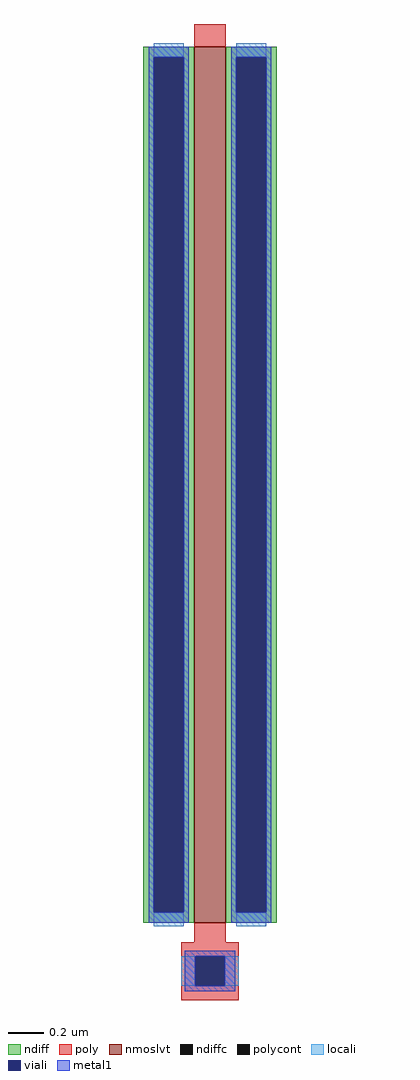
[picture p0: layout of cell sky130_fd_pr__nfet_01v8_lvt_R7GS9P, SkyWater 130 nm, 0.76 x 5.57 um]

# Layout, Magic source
magic
tech sky130A
magscale 1 2
<< nmoslvt >>
rect -18 -469 18 531
<< ndiff >>
rect -76 519 -18 531
rect -76 -457 -64 519
rect -30 -457 -18 519
rect -76 -469 -18 -457
rect 18 519 76 531
rect 18 -457 30 519
rect 64 -457 76 519
rect 18 -469 76 -457
<< ndiffc >>
rect -64 -457 -30 519
rect 30 -457 64 519
<< poly >>
rect -18 531 18 557
rect -18 -491 18 -469
rect -33 -507 33 -491
rect -33 -541 -17 -507
rect 17 -541 33 -507
rect -33 -557 33 -541
<< polycont >>
rect -17 -541 17 -507
<< locali >>
rect -64 519 -30 535
rect -64 -473 -30 -457
rect 30 519 64 535
rect 30 -473 64 -457
rect -33 -541 -17 -507
rect 17 -541 33 -507
<< viali >>
rect -64 -457 -30 519
rect 30 -457 64 519
rect -17 -541 17 -507
<< metal1 >>
rect -70 519 -24 531
rect -70 -457 -64 519
rect -30 -457 -24 519
rect -70 -469 -24 -457
rect 24 519 70 531
rect 24 -457 30 519
rect 64 -457 70 519
rect 24 -469 70 -457
rect -29 -507 29 -501
rect -29 -541 -17 -507
rect 17 -541 29 -507
rect -29 -547 29 -541
<< properties >>
string gencell sky130_fd_pr__nfet_01v8_lvt
string library sky130
string parameters w 5.0 l 0.18 m 1 nf 1 diffcov 100 polycov 100 guard 0 glc 1 grc 1 gtc 1 gbc 1 tbcov 100 rlcov 100 topc 0 botc 1 poverlap 0 doverlap 1 lmin 0.15 wmin 0.42 compatible {sky130_fd_pr__nfet_01v8 sky130_fd_pr__nfet_01v8_lvt  sky130_fd_bs_flash__special_sonosfet_star  sky130_fd_pr__nfet_g5v0d10v5 sky130_fd_pr__nfet_05v0_nvt  sky130_fd_pr__nfet_03v3_nvt} full_metal 0 viasrc 100 viadrn 100 viagate 100 viagb 0 viagr 0 viagl 0 viagt 0
<< end >>
